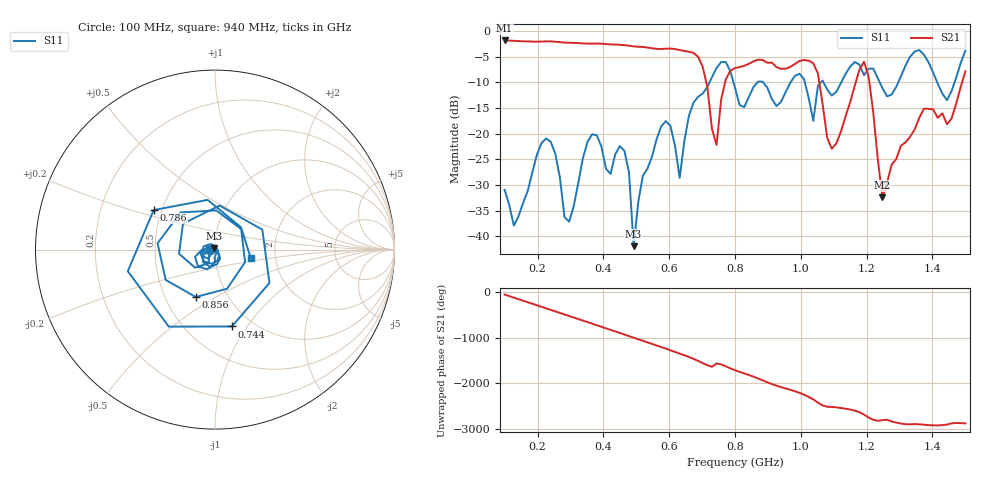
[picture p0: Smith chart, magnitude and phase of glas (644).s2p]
! NanoVNA-App
! Date: 2025-09-25 16:00:29
! Start: 100MHz Stop: 1,5GHz Points: 101
! S-Parameter data: F S11 S21 S12 S22
# Hz S RI R 50
!  Frequency  S11_Real  S11_Imag  S21_Real  S21_Imag  S12_Real  S12_Imag  S22_Real  S22_Imag
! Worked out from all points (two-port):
!   101 points, 100 MHz to 1.5 GHz, reference 50 ohm
!   highest |S21| = -1.80 dB at 100 MHz (marker M1); lowest = -32.4 dB at 1.248 GHz (marker M2)
!   |S21| within 3 dB of the highest: start of sweep to 684.4 MHz
!   lowest |S11| = -41.9 dB at 492 MHz (marker M3), VSWR 1.02, Z = 49.5 + j0.607 ohm
!   |S11| at or under -10 dB: start of sweep to 722.4 MHz; 795.4 MHz to 867.7 MHz (72.29 MHz wide, 8.69 % of centre); 885.9 MHz to 968.4 MHz (82.49 MHz wide, 8.9 % of centre) (the widest 3 of 7)
!   S12 and S22 are empty: the file has one direction only
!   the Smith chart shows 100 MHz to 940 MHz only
!   S11 on the Smith chart (normalised r, x): 100 MHz: 0.94, -0.01; 744 MHz: 0.80, -0.85; 786 MHz: 0.45, +0.24; 856 MHz: 0.71, -0.41; 940 MHz: 1.49, -0.15
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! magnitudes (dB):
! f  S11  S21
! 100 MHz  -30.9  -1.8
! 128 MHz  -37.9  -1.9
! 226 MHz  -20.9  -2.0
! 296 MHz  -37.1  -2.2
! 338 MHz  -24.7  -2.4
! 464 MHz  -23.3  -2.7
! 492 MHz  -41.9  -3.0
! 576 MHz  -18.5  -3.5
! 632 MHz  -28.6  -3.7
! 702 MHz  -12.1  -7.0
! 744 MHz  -7.2  -22.2
! 786 MHz  -7.8  -7.7
! 800 MHz  -11.1  -7.2
! 856 MHz  -10.9  -5.9
! 940 MHz  -13.8  -7.3
! 996 MHz  -8.3  -5.8
! 1.038 GHz  -17.5  -6.3
! 1.094 GHz  -12.6  -22.9
! 1.192 GHz  -8.6  -6.0
! 1.248 GHz  -11.1  -32.4
! 1.276 GHz  -12.4  -26.0
! 1.5 GHz  -3.8  -7.8
